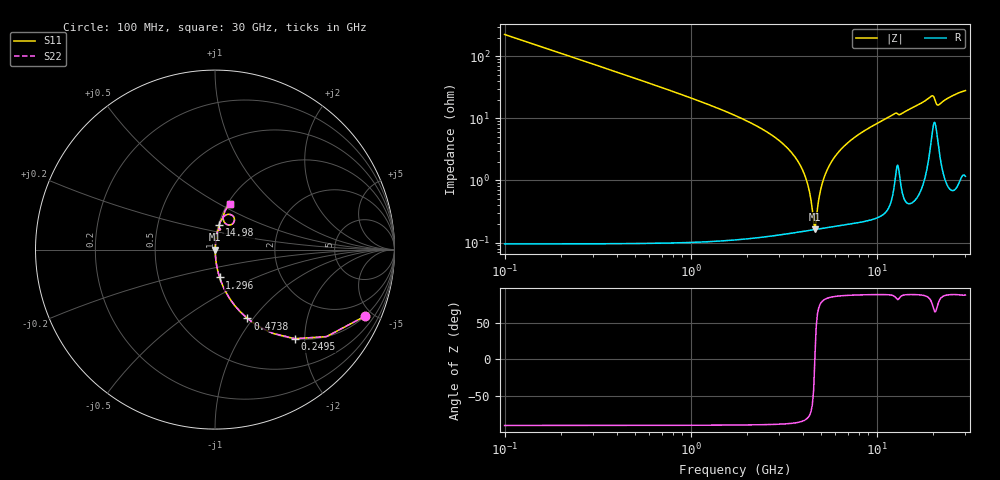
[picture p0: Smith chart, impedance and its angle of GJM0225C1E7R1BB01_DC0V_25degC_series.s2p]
!Murata Part Number: GJM0225C1E7R1BB01
!These Parameters are Measured in Series Mode Connection
!  o--ll--o
!Port1  Port2
!  o------o
!Operation Temp=25[degC], DC Bias Voltage=0[V]
!Freq. Start=100[MHz] Stop=30[GHz], 401[Steps]
!Data Generated on Feb 1, 2023
# Hz S RI R 50
!Freq.(Hz) S11(Real) S11(Imag) S21(Real) S21(Imag) S12(Real) S12(Imag) S22(Real) S22(Imag)
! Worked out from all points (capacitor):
!   401 points, 100 MHz to 30 GHz, reference 50 ohm
!   read as one part in series: C = 7.1 pF near 249.5 MHz
!   lowest |Z| = 162 mohm at 4.66 GHz (marker M1)
!   series resonance near 4.654 GHz, so ESL is about 160 pH
!   S11 on the Smith chart (normalised r, x): 100 MHz: 1.00, -4.48; 249.5 MHz: 1.00, -1.79; 473.8 MHz: 1.00, -0.94; 1.296 GHz: 1.00, -0.32; 14.98 GHz: 1.01, +0.28; 30 GHz: 1.02, +0.56
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1e8  0.8338 -0.3721  0.1662 0.3721  0.1662 0.3721  0.8338 -0.3721
2.495e8  0.4453 -0.4965  0.5547 0.4965  0.5547 0.4965  0.4453 -0.4965
4.7375e8  0.1803 -0.3834  0.8197 0.3834  0.8197 0.3834  0.1803 -0.3834
7.7275e8  0.0744 -0.2608  0.9256 0.2608  0.9256 0.2608  0.0744 -0.2608
1.296e9  0.0258 -0.1552  0.9742 0.1552  0.9742 0.1552  0.0258 -0.1552
3.01525e9  0.00317 -0.0428  0.9968 0.0428  0.9968 0.0428  0.00317 -0.0428
3.688e9  0.00196 -0.0225  0.998 0.0225  0.998 0.0225  0.00196 -0.0225
4.21125e9  0.00163 -0.00958  0.9984 0.00958  0.9984 0.00958  0.00163 -0.00958
4.51025e9  0.0016 -0.003  0.9984 0.003  0.9984 0.003  0.0016 -0.003
4.65975e9  0.00162 0.000121  0.9984 -0.000121  0.9984 -0.000121  0.00162 0.000121
4.7345e9  0.00163 0.00164  0.9984 -0.00164  0.9984 -0.00164  0.00163 0.00164
5.10825e9  0.00177 0.00893  0.9982 -0.00893  0.9982 -0.00893  0.00177 0.00893
5.70625e9  0.00216 0.0196  0.9978 -0.0196  0.9978 -0.0196  0.00216 0.0196
6.60325e9  0.00307 0.0342  0.9969 -0.0342  0.9969 -0.0342  0.00307 0.0342
8.0235e9  0.00511 0.0548  0.9949 -0.0548  0.9949 -0.0548  0.00511 0.0548
1.01165e10  0.0094 0.0826  0.9906 -0.0826  0.9906 -0.0826  0.0094 0.0826
1.497525e10  0.0231 0.1358  0.9769 -0.1358  0.9769 -0.1358  0.0231 0.1358
1.505e10  0.0234 0.1368  0.9766 -0.1368  0.9766 -0.1368  0.0234 0.1368
2.005825e10  0.1024 0.1842  0.8976 -0.1842  0.8976 -0.1842  0.1024 0.1842
2.125425e10  0.0655 0.1401  0.9345 -0.1401  0.9345 -0.1401  0.0655 0.1401
2.50665e10  0.0539 0.2107  0.9461 -0.2107  0.9461 -0.2107  0.0539 0.2107
3e10  0.0816 0.2537  0.9184 -0.2537  0.9184 -0.2537  0.0816 0.2537
